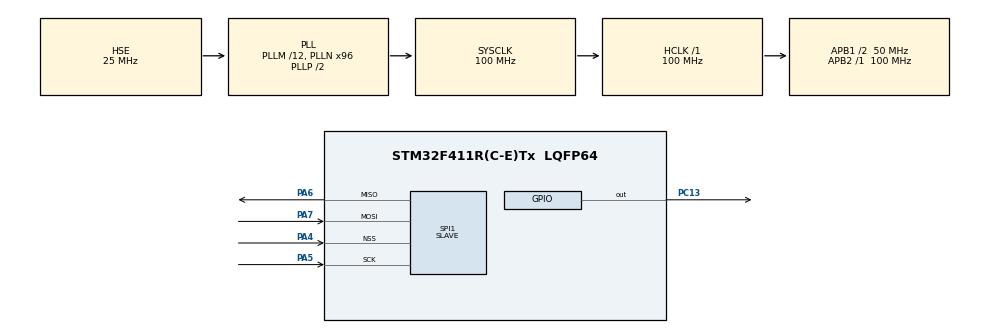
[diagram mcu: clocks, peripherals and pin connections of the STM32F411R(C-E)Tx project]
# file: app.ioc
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FREERTOS.Tasks01=defaultTask,24,128,StartDefaultTask,Default,NULL,Dynamic,NULL,NULL
Mcu.Family=STM32F4
Mcu.Name=STM32F411R(C-E)Tx
Mcu.Package=LQFP64
NVIC.PriorityGroup=NVIC_PRIORITYGROUP_4
NVIC.TIM1_UP_TIM10_IRQn=true\:15\:0\:false\:false\:true\:false\:false\:true\:true
NVIC.TimeBase=TIM1_UP_TIM10_IRQn
NVIC.TimeBaseIP=TIM1
PA13.Mode=Serial_Wire
PA13.Signal=SYS_JTMS-SWDIO
PA14.Mode=Serial_Wire
PA14.Signal=SYS_JTCK-SWCLK
PA4.Mode=NSS_Signal_Hard_Input
PA4.Signal=SPI1_NSS
PA5.Mode=Full_Duplex_Slave
PA5.Signal=SPI1_SCK
PA6.Mode=Full_Duplex_Slave
PA6.Signal=SPI1_MISO
PA7.Mode=Full_Duplex_Slave
PA7.Signal=SPI1_MOSI
PC13-ANTI_TAMP.PinState=GPIO_PIN_SET
PC13-ANTI_TAMP.Signal=GPIO_Output
PC14-OSC32_IN.Mode=LSE-External-Oscillator
PC14-OSC32_IN.Signal=RCC_OSC32_IN
PC15-OSC32_OUT.Mode=LSE-External-Oscillator
PC15-OSC32_OUT.Signal=RCC_OSC32_OUT
PH0\ -\ OSC_IN.Mode=HSE-External-Oscillator
PH0\ -\ OSC_IN.Signal=RCC_OSC_IN
PH1\ -\ OSC_OUT.Mode=HSE-External-Oscillator
PH1\ -\ OSC_OUT.Signal=RCC_OSC_OUT
ProjectManager.HeapSize=0x200
ProjectManager.StackSize=0x400
ProjectManager.TargetToolchain=MDK-ARM V5.32
RCC.48MHZClocksFreq_Value=50000000
RCC.AHBFreq_Value=100000000
RCC.APB1CLKDivider=RCC_HCLK_DIV2
RCC.APB1Freq_Value=50000000
RCC.APB1TimFreq_Value=100000000
RCC.APB2Freq_Value=100000000
RCC.APB2TimFreq_Value=100000000
RCC.CortexFreq_Value=100000000
RCC.HCLKFreq_Value=100000000
RCC.HSE_VALUE=25000000
RCC.HSI_VALUE=16000000
RCC.PLLM=12
RCC.PLLN=96
RCC.PLLSourceVirtual=RCC_PLLSOURCE_HSE
RCC.SYSCLKFreq_VALUE=100000000
RCC.SYSCLKSource=RCC_SYSCLKSOURCE_PLLCLK
RCC.VCOOutputFreq_Value=200000000
SPI1.Direction=SPI_DIRECTION_2LINES
SPI1.Mode=SPI_MODE_SLAVE
SPI1.VirtualNSS=VM_NSSHARD
SPI1.VirtualType=VM_SLAVE
VP_FREERTOS_VS_CMSIS_V2.Mode=CMSIS_V2
VP_SYS_VS_tim1.Mode=TIM1
board=custom

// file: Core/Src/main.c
/* USER CODE BEGIN Header */
/**
  ******************************************************************************
  * @file           : main.c
  * @brief          : Main program body
  ******************************************************************************
  * @attention
  *
  * Copyright (c) 2026 STMicroelectronics.
  * All rights reserved.
  *
  * This software is licensed under terms that can be found in the LICENSE file
  * in the root directory of this software component.
  * If no LICENSE file comes with this software, it is provided AS-IS.
  *
  ******************************************************************************
  */
/* USER CODE END Header */
#include "main.h"
#include "cmsis_os.h"
#include "spi.h"
#include "gpio.h"

void SystemClock_Config(void);
void MX_FREERTOS_Init(void);

int main(void)
{

  /* USER CODE BEGIN 1 */
	SCB->VTOR = 0x08010000;
  /* USER CODE END 1 */

  /* MCU Configuration--------------------------------------------------------*/

  /* Reset of all peripherals, Initializes the Flash interface and the Systick. */
  HAL_Init();

  /* Configure the system clock */
  SystemClock_Config();

  /* Initialize all configured peripherals */
  MX_GPIO_Init();
  MX_SPI1_Init();

  /* Init scheduler */
  osKernelInitialize();  /* Call init function for freertos objects (in cmsis_os2.c) */
  MX_FREERTOS_Init();

  /* Start scheduler */
  osKernelStart();

  /* We should never get here as control is now taken by the scheduler */

  /* Infinite loop */
  while (1)
  {

  }
}

void SystemClock_Config(void)
{
  RCC_OscInitTypeDef RCC_OscInitStruct = {0};
  RCC_ClkInitTypeDef RCC_ClkInitStruct = {0};

  /** Configure the main internal regulator output voltage
  */
  __HAL_RCC_PWR_CLK_ENABLE();
  __HAL_PWR_VOLTAGESCALING_CONFIG(PWR_REGULATOR_VOLTAGE_SCALE1);

  /** Initializes the RCC Oscillators according to the specified parameters
  * in the RCC_OscInitTypeDef structure.
  */
  RCC_OscInitStruct.OscillatorType = RCC_OSCILLATORTYPE_HSE;
  RCC_OscInitStruct.HSEState = RCC_HSE_ON;
  RCC_OscInitStruct.PLL.PLLState = RCC_PLL_ON;
  RCC_OscInitStruct.PLL.PLLSource = RCC_PLLSOURCE_HSE;
  RCC_OscInitStruct.PLL.PLLM = 12;
  RCC_OscInitStruct.PLL.PLLN = 96;
  RCC_OscInitStruct.PLL.PLLP = RCC_PLLP_DIV2;
  RCC_OscInitStruct.PLL.PLLQ = 4;
  if (HAL_RCC_OscConfig(&RCC_OscInitStruct) != HAL_OK)
  {
    Error_Handler();
  }

  /** Initializes the CPU, AHB and APB buses clocks
  */
  RCC_ClkInitStruct.ClockType = RCC_CLOCKTYPE_HCLK|RCC_CLOCKTYPE_SYSCLK
                              |RCC_CLOCKTYPE_PCLK1|RCC_CLOCKTYPE_PCLK2;
  RCC_ClkInitStruct.SYSCLKSource = RCC_SYSCLKSOURCE_PLLCLK;
  RCC_ClkInitStruct.AHBCLKDivider = RCC_SYSCLK_DIV1;
  RCC_ClkInitStruct.APB1CLKDivider = RCC_HCLK_DIV2;
  RCC_ClkInitStruct.APB2CLKDivider = RCC_HCLK_DIV1;

  if (HAL_RCC_ClockConfig(&RCC_ClkInitStruct, FLASH_LATENCY_3) != HAL_OK)
  {
    Error_Handler();
  }
}

void HAL_TIM_PeriodElapsedCallback(TIM_HandleTypeDef *htim)
{
  if (htim->Instance == TIM1)
  {
    HAL_IncTick();
  }
}

void Error_Handler(void)
{
  __disable_irq();
  while (1)
  {
  }
}

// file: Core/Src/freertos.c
/* USER CODE BEGIN Header */
/**
  ******************************************************************************
  * File Name          : freertos.c
  * Description        : Code for freertos applications
  ******************************************************************************
  * @attention
  *
  * Copyright (c) 2026 STMicroelectronics.
  * All rights reserved.
  *
  * This software is licensed under terms that can be found in the LICENSE file
  * in the root directory of this software component.
  * If no LICENSE file comes with this software, it is provided AS-IS.
  *
  ******************************************************************************
  */
/* USER CODE END Header */

#include "FreeRTOS.h"
#include "task.h"
#include "Queue.h"
#include "main.h"
#include "cmsis_os.h"
#include "spi.h"
/* USER CODE BEGIN Includes */
#include <string.h>
/* USER CODE END Includes */

/* USER CODE BEGIN Variables */
TaskHandle_t CreateTaskHandle   = NULL;
TaskHandle_t PrintTask1Handle     = NULL;
TaskHandle_t PrintTask2Handle = NULL;
TaskHandle_t SpiSwapTaskHandle  = NULL;
QueueHandle_t DataQueueHandle = NULL;
/* USER CODE END Variables */
/* Definitions for defaultTask */
osThreadId_t defaultTaskHandle;
const osThreadAttr_t defaultTask_attributes = {
  .name = "defaultTask",
  .stack_size = 128 * 4,
  .priority = (osPriority_t) osPriorityNormal,
};

/* USER CODE BEGIN FunctionPrototypes */
void CreateTask(void *argument);
void PrintTask1(void *argument);
void PrintTask2(void *argument);
/* USER CODE END FunctionPrototypes */

void StartDefaultTask(void *argument);

void MX_FREERTOS_Init(void); /* (MISRA C 2004 rule 8.1) */

void MX_FREERTOS_Init(void) {

  /* Create the thread(s) */
  /* creation of defaultTask */
  defaultTaskHandle = osThreadNew(StartDefaultTask, NULL, &defaultTask_attributes);

}

void StartDefaultTask(void *argument)
{
  /* USER CODE BEGIN StartDefaultTask */
  /* 任务1：负责创建其他任务 */
  xTaskCreate(CreateTask, "CreateTask", 128, NULL, 1, &CreateTaskHandle);

  /* Infinite loop */
  for(;;)
  {
    osDelay(1);
  }
  /* USER CODE END StartDefaultTask */
}

/* USER CODE BEGIN Application */

/**
  * @brief  任务1：创建其他任务（任务2、任务3）
  * @param  argument: Not used
  * @retval None
  */
void CreateTask(void *argument)
{
  (void)argument;

	/* 先创建队列：消息大小 = sizeof(Message_t)，最多缓存 MSG_QUEUE_LENGTH 条 */
	DataQueueHandle = xQueueCreate(MSG_QUEUE_LENGTH, sizeof(Message_t));
	if (DataQueueHandle == NULL)
	{
		Error_Handler();
	}

	/* 任务1：spi任务（在队列创建之后启动，避免拿到空句柄）
	 * 注意：SpiTask 里是 HAL 忙等轮询，从不主动阻塞，
	 * 所以优先级必须低于产生消息的任务（PrintTask 为 2），
	 * 否则打印任务永远得不到 CPU，队列一直为空。 */
	xTaskCreate(SpiTask, "SpiTask", 512, NULL, 1, &SpiSwapTaskHandle);

  /* 任务2：打印任务1 */
  xTaskCreate(PrintTask1, "PrintTask1", 512, NULL, 2, &PrintTask1Handle);

  /* 任务3：打印任务2 */
  xTaskCreate(PrintTask2, "PrintTask2", 512, NULL, 2, &PrintTask2Handle);

  /* 创建完成后删除自身 */
  vTaskDelete(NULL);
}

/**
  * @brief  任务2：打印任务1
  * @param  argument: Not used
  * @retval None
  */
void PrintTask1(void *argument)
{
  (void)argument;

  /* 演示用的文本，实际项目里可以换成从串口/传感器得到的字符串 */
  const char *texts[] = {"Imtask1"};

  Message_t msg;
  const char *p;
  uint8_t   msg_id   = 0;
  uint8_t   text_idx = 0;
  uint8_t   n;

  for(;;)
  {
    /* 组一条消息：把文本拷进固定长度的 text 区 */
    p = texts[text_idx++ % (sizeof(texts) / sizeof(texts[0]))];
    n = (uint8_t)strlen(p);
    if (n > MSG_TEXT_LENGTH)
    {
      n = MSG_TEXT_LENGTH;
    }

    msg.head = MSG_HEAD;
    msg.id   = msg_id++;
    msg.len  = n;
    memset(msg.text, 0, sizeof(msg.text));
    memcpy(msg.text, p, n);

    /* 发到队列，队列满则丢弃本条，不阻塞 */
    if (xQueueSend(DataQueueHandle, &msg, 0) != pdPASS)
    {
      /* 可以在这里记录丢包 */
    }
		osDelay(500);
  }
}

/**
  * @brief  任务3：打印任务2
  * @param  argument: Not used
  * @retval None
  */
void PrintTask2(void *argument)
{
  (void)argument;
  const char *texts[] = {"ImTask2"};

  Message_t msg;
  const char *p;
  uint8_t   msg_id   = 0;
  uint8_t   text_idx = 0;
  uint8_t   n;
  for(;;)
  {
    /* 组一条消息：把文本拷进固定长度的 text 区 */
    p = texts[text_idx++ % (sizeof(texts) / sizeof(texts[0]))];
    n = (uint8_t)strlen(p);
    if (n > MSG_TEXT_LENGTH)
    {
      n = MSG_TEXT_LENGTH;
    }

    msg.head = MSG_HEAD;
    msg.id   = msg_id++;
    msg.len  = n;
    memset(msg.text, 0, sizeof(msg.text));
    memcpy(msg.text, p, n);

    /* 发到队列，队列满则丢弃本条，不阻塞 */
    if (xQueueSend(DataQueueHandle, &msg, 0) != pdPASS)
    {
      /* 可以在这里记录丢包 */
    }
		osDelay(500);
  }
}

/* USER CODE END Application */
